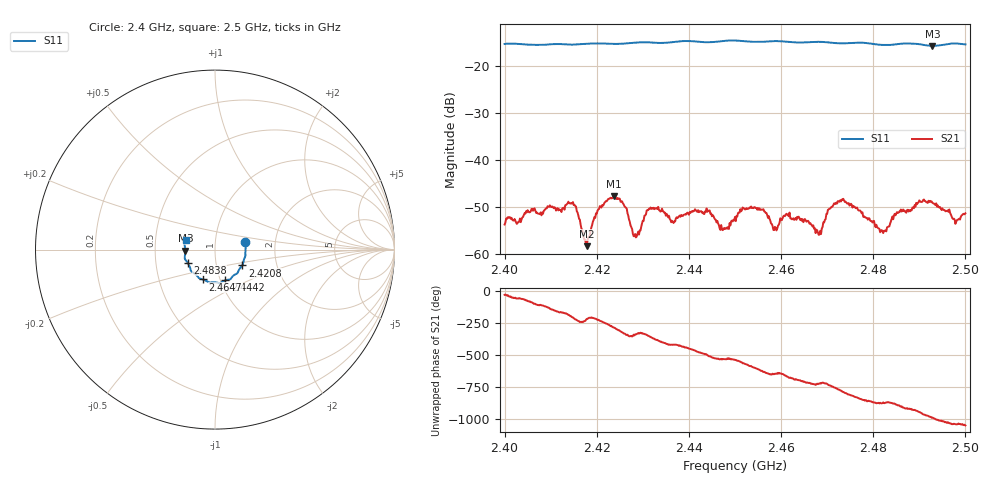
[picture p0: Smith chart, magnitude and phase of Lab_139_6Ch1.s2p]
# Hz S RI R
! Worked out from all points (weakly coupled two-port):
!   601 points, 2.4 GHz to 2.5 GHz, reference 50 ohm
!   highest |S21| = -47.66 dB at 2.4237 GHz (marker M1); lowest = -58.4 dB at 2.4178 GHz (marker M2)
!   lowest |S11| = -15.6 dB at 2.4928 GHz (marker M3), VSWR 1.40, Z = 35.8 - j0.38 ohm
!   |S11| at or under -10 dB: start of sweep to end of sweep
!   S12 and S22 are empty: the file has one direction only
!   S11 on the Smith chart (normalised r, x): 2.4 GHz: 1.40, +0.12; 2.4208 GHz: 1.33, -0.24; 2.4442 GHz: 1.05, -0.37; 2.4647 GHz: 0.83, -0.29; 2.4838 GHz: 0.73, -0.11; 2.5 GHz: 0.72, +0.08
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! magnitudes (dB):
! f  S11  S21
! 2.4 GHz  -15.2  -53.8
! 2.4143 GHz  -15.4  -49.3
! 2.4167 GHz  -15.3  -54.6
! 2.4178 GHz  -15.2  -58.4
! 2.4208 GHz  -15.1  -49.9
! 2.4237 GHz  -15.2  -47.7
! 2.4283 GHz  -14.9  -55.8
! 2.4333 GHz  -15.0  -50.0
! 2.4365 GHz  -14.8  -53.1
! 2.4442 GHz  -14.9  -50.8
! 2.4472 GHz  -14.6  -54.8
! 2.45 GHz  -14.5  -52.1
! 2.4538 GHz  -14.8  -50.2
! 2.4587 GHz  -14.6  -54.3
! 2.4647 GHz  -14.9  -52.6
! 2.4667 GHz  -14.8  -53.9
! 2.4685 GHz  -14.8  -55.1
! 2.4732 GHz  -15.1  -48.4
! 2.4833 GHz  -15.5  -54.2
! 2.4838 GHz  -15.4  -53.1
! 2.4928 GHz  -15.6  -49.1
! 2.5 GHz  -15.3  -51.4
